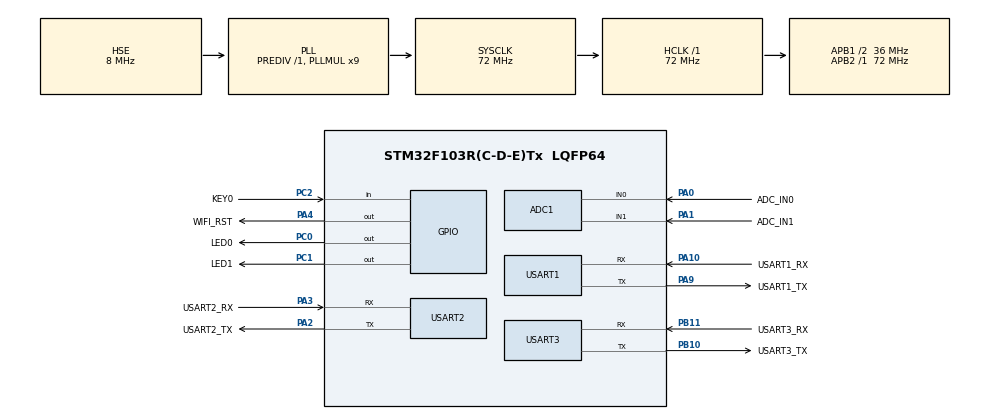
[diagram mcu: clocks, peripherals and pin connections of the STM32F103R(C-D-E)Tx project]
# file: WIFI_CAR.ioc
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ADC1.Channel-0\#ChannelRegularConversion=ADC_CHANNEL_0
ADC1.NbrOfConversionFlag=1
ADC1.Rank-0\#ChannelRegularConversion=1
ADC1.SamplingTime-0\#ChannelRegularConversion=ADC_SAMPLETIME_1CYCLE_5
ADC1.master=1
Mcu.Family=STM32F1
Mcu.Name=STM32F103R(C-D-E)Tx
Mcu.Package=LQFP64
NVIC.PriorityGroup=NVIC_PRIORITYGROUP_4
NVIC.USART1_IRQn=true\:0\:0\:false\:false\:true\:true\:true
NVIC.USART2_IRQn=true\:0\:0\:false\:false\:true\:true\:true
NVIC.USART3_IRQn=true\:0\:0\:false\:false\:true\:true\:true
PA0-WKUP.GPIO_Label=ADC_IN0
PA0-WKUP.Signal=ADCx_IN0
PA1.GPIO_Label=ADC_IN1
PA1.Signal=ADCx_IN1
PA10.GPIO_Label=USART1_RX
PA10.Mode=Asynchronous
PA10.Signal=USART1_RX
PA13.Mode=Serial_Wire
PA13.Signal=SYS_JTMS-SWDIO
PA14.Mode=Serial_Wire
PA14.Signal=SYS_JTCK-SWCLK
PA2.GPIO_Label=USART2_TX
PA2.Mode=Asynchronous
PA2.Signal=USART2_TX
PA3.GPIO_Label=USART2_RX
PA3.Mode=Asynchronous
PA3.Signal=USART2_RX
PA4.GPIO_Label=WIFI_RST
PA4.GPIO_PuPd=GPIO_PULLDOWN
PA4.GPIO_Speed=GPIO_SPEED_FREQ_HIGH
PA4.PinState=GPIO_PIN_RESET
PA4.Signal=GPIO_Output
PA9.GPIO_Label=USART1_TX
PA9.Mode=Asynchronous
PA9.Signal=USART1_TX
PB10.GPIO_Label=USART3_TX
PB10.Mode=Asynchronous
PB10.Signal=USART3_TX
PB11.GPIO_Label=USART3_RX
PB11.Mode=Asynchronous
PB11.Signal=USART3_RX
PC0.GPIO_Label=LED0
PC0.GPIO_PuPd=GPIO_PULLDOWN
PC0.GPIO_Speed=GPIO_SPEED_FREQ_HIGH
PC0.Signal=GPIO_Output
PC1.GPIO_Label=LED1
PC1.GPIO_PuPd=GPIO_PULLDOWN
PC1.GPIO_Speed=GPIO_SPEED_FREQ_HIGH
PC1.Signal=GPIO_Output
PC2.GPIO_Label=KEY0
PC2.Signal=GPIO_Input
PD0-OSC_IN.Mode=HSE-External-Oscillator
PD0-OSC_IN.Signal=RCC_OSC_IN
PD1-OSC_OUT.Mode=HSE-External-Oscillator
PD1-OSC_OUT.Signal=RCC_OSC_OUT
ProjectManager.HeapSize=0x200
ProjectManager.StackSize=0x400
ProjectManager.TargetToolchain=MDK-ARM V5.27
RCC.ADCPresc=RCC_ADCPCLK2_DIV6
RCC.AHBFreq_Value=72000000
RCC.APB1CLKDivider=RCC_HCLK_DIV2
RCC.APB1Freq_Value=36000000
RCC.APB1TimFreq_Value=72000000
RCC.APB2Freq_Value=72000000
RCC.APB2TimFreq_Value=72000000
RCC.HCLKFreq_Value=72000000
RCC.PLLMUL=RCC_PLL_MUL9
RCC.PLLSourceVirtual=RCC_PLLSOURCE_HSE
RCC.SYSCLKFreq_VALUE=72000000
RCC.SYSCLKSource=RCC_SYSCLKSOURCE_PLLCLK
RCC.USBFreq_Value=72000000
SH.ADCx_IN0.0=ADC1_IN0,IN0
SH.ADCx_IN1.0=ADC1_IN1,IN1
USART1.VirtualMode=VM_ASYNC
USART2.VirtualMode=VM_ASYNC
USART3.VirtualMode=VM_ASYNC
board=custom

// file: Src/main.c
/* USER CODE BEGIN Header */
/**
  ******************************************************************************
  * @file           : main.c
  * @brief          : Main program body
  ******************************************************************************
  * @attention
  *
  * <h2><center>&copy; Copyright (c) 2024 STMicroelectronics.
  * All rights reserved.</center></h2>
  *
  * This software component is licensed by ST under BSD 3-Clause license,
  * the "License"; You may not use this file except in compliance with the
  * License. You may obtain a copy of the License at:
  *                        opensource.org/licenses/BSD-3-Clause
  *
  ******************************************************************************
  */
/* USER CODE END Header */

#include "main.h"
#include "adc.h"
#include "usart.h"
#include "gpio.h"

/* USER CODE BEGIN Includes */
#include "usart1.h"
#include "usart2.h"
#include "usart3.h"
#include "string.h"
#include "atk_mw8266d.h"
#include "state_reg.h"
/* USER CODE END Includes */

/* USER CODE BEGIN PD */
#define _DELAY_1000MS_   ((DELAY_NUM%1000)==0)
#define _DELAY_2500MS_   ((DELAY_NUM%2500)==0)
#define _DELAY_5000MS_   ((DELAY_NUM%5000)==0)
uint32_t DELAY_NUM=0;
uint32_t CNT=0;
/* USER CODE END PD */

void SystemClock_Config(void);
/* USER CODE BEGIN PFP */
void START_DELAY(void);
/* USER CODE END PFP */

int main(void)
{

  /* MCU Configuration--------------------------------------------------------*/

  /* Reset of all peripherals, Initializes the Flash interface and the Systick. */
  HAL_Init();

  /* Configure the system clock */
  SystemClock_Config();

  /* Initialize all configured peripherals */
  MX_GPIO_Init();
  MX_ADC1_Init();
  MX_USART1_UART_Init();
  MX_USART2_UART_Init();
  MX_USART3_UART_Init();
  /* USER CODE BEGIN 2 */
	usart1.initialize(115200);
  usart2.initialize(115200);
	usart3.initialize(115200);

	///////////////////////////////////////////////////////
	///////////////////////////////////////////////////////
	usart1.printf("usart1 is Running!\r\n");
	HAL_Delay(2000);
	//usart2.printf("usart2 is Running!\r\n");
	HAL_GPIO_WritePin (LED0_GPIO_Port, LED0_Pin, GPIO_PIN_SET);
	HAL_GPIO_WritePin (LED1_GPIO_Port, LED1_Pin, GPIO_PIN_SET);
	atk_mw8266d_init();

	///////////////////////////////////////////////////////
	///////////////////////////////////////////////////////
  /* USER CODE END 2 */

  /* Infinite loop */
  /* USER CODE BEGIN WHILE */
  while (1)
  {
		START_DELAY();
		UART2_COMMAND_PROCESSING();
		if(_DELAY_1000MS_)
		{
			//HAL_GPIO_TogglePin(LED0_GPIO_Port, LED0_Pin);
			HAL_GPIO_TogglePin(LED1_GPIO_Port, LED1_Pin);
			do_query_state();
			GetVolt();
		}
    /* USER CODE END WHILE */

    /* USER CODE BEGIN 3 */
		//HAL_GPIO_TogglePin(LED1_GPIO_Port, LED1_Pin);
  }
  /* USER CODE END 3 */
}

void SystemClock_Config(void)
{
  RCC_OscInitTypeDef RCC_OscInitStruct = {0};
  RCC_ClkInitTypeDef RCC_ClkInitStruct = {0};
  RCC_PeriphCLKInitTypeDef PeriphClkInit = {0};

  /** Initializes the CPU, AHB and APB busses clocks
  */
  RCC_OscInitStruct.OscillatorType = RCC_OSCILLATORTYPE_HSE;
  RCC_OscInitStruct.HSEState = RCC_HSE_ON;
  RCC_OscInitStruct.HSEPredivValue = RCC_HSE_PREDIV_DIV1;
  RCC_OscInitStruct.HSIState = RCC_HSI_ON;
  RCC_OscInitStruct.PLL.PLLState = RCC_PLL_ON;
  RCC_OscInitStruct.PLL.PLLSource = RCC_PLLSOURCE_HSE;
  RCC_OscInitStruct.PLL.PLLMUL = RCC_PLL_MUL9;
  if (HAL_RCC_OscConfig(&RCC_OscInitStruct) != HAL_OK)
  {
    Error_Handler();
  }
  /** Initializes the CPU, AHB and APB busses clocks
  */
  RCC_ClkInitStruct.ClockType = RCC_CLOCKTYPE_HCLK|RCC_CLOCKTYPE_SYSCLK
                              |RCC_CLOCKTYPE_PCLK1|RCC_CLOCKTYPE_PCLK2;
  RCC_ClkInitStruct.SYSCLKSource = RCC_SYSCLKSOURCE_PLLCLK;
  RCC_ClkInitStruct.AHBCLKDivider = RCC_SYSCLK_DIV1;
  RCC_ClkInitStruct.APB1CLKDivider = RCC_HCLK_DIV2;
  RCC_ClkInitStruct.APB2CLKDivider = RCC_HCLK_DIV1;

  if (HAL_RCC_ClockConfig(&RCC_ClkInitStruct, FLASH_LATENCY_2) != HAL_OK)
  {
    Error_Handler();
  }
  PeriphClkInit.PeriphClockSelection = RCC_PERIPHCLK_ADC;
  PeriphClkInit.AdcClockSelection = RCC_ADCPCLK2_DIV6;
  if (HAL_RCCEx_PeriphCLKConfig(&PeriphClkInit) != HAL_OK)
  {
    Error_Handler();
  }
}

/* USER CODE BEGIN 4 */
void START_DELAY(void)
{
	HAL_Delay(0);
	DELAY_NUM = DELAY_NUM+1;
}
/* USER CODE END 4 */

void Error_Handler(void)
{
}

/************************ (C) COPYRIGHT STMicroelectronics *****END OF FILE****/
